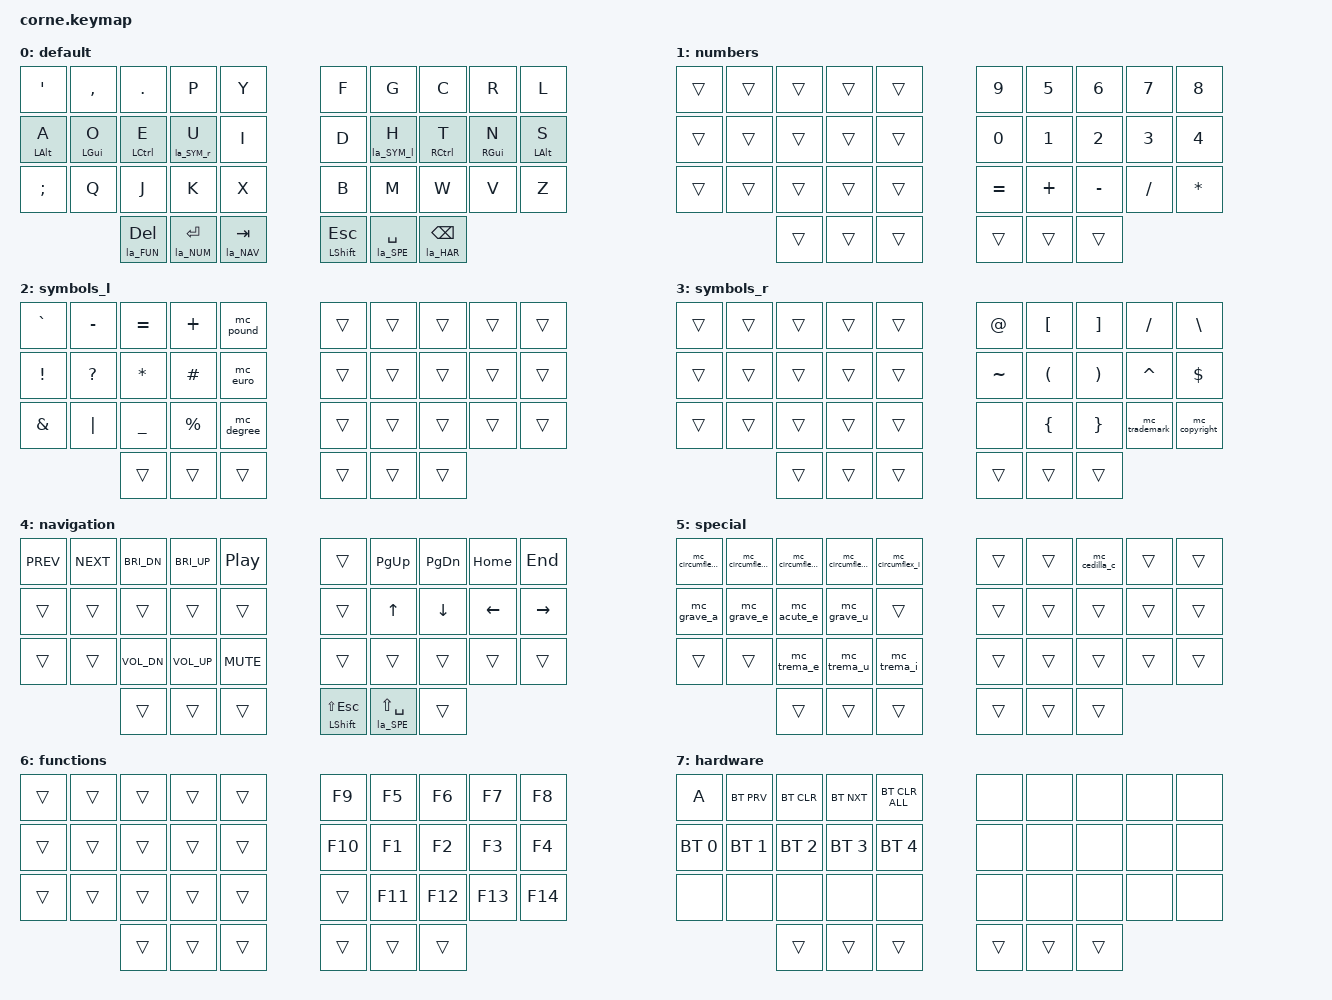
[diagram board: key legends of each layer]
#include <behaviors.dtsi>
#include <dt-bindings/zmk/keys.h>
#include <dt-bindings/zmk/bt.h>

/ {
  chosen {
    zmk,matrix_transform = &five_column_transform;
  };
};

#define la_DEF 0
#define la_NUM 1
#define la_SYM_l 2
#define la_SYM_r 3
#define la_NAV 4
#define la_SPE 5
#define la_FUN 6
#define la_HAR 7
// #define la_LMOD 4
// #define la_RMOD 5

#define po_T0 30
#define po_T1 31
#define po_T2 32
#define po_T3 33

#define po_LC 13
#define po_LS 12
#define po_LG 11
#define po_LA 10

#define po_RC 16
#define po_RS 17
#define po_RG 18
#define po_RA 19

#define po_RIGHT 5 6 7 8 9 15 16 17 18 19 25 26 27 28 29 30 31 32 33
#define po_LEFT 0 1 2 3 4 10 11 12 13 14 20 21 22 23 24 30 31 32 33

#define HM(NAME, HOLD, TAP, TRIGGER_POS) \
NAME: NAME { \
  label = #NAME; \
  compatible = "zmk,behavior-hold-tap"; \
  #binding-cells = <2>; \
  tapping-term-ms = <270>; \
  quick-tap-ms = <150>; \
  global-quick-tap; \
  flavor = "balanced"; \
  bindings = <HOLD>, <TAP>; \
  hold-trigger-key-positions = <TRIGGER_POS>; \
  hold-trigger-on-release; \
};

#define HMM(NAME, HOLD, TAP, TRIGGER_POS) \
NAME: NAME { \
  label = #NAME; \
  compatible = "zmk,behavior-hold-tap"; \
  #binding-cells = <2>; \
  tapping-term-ms = <270>; \
  quick-tap-ms = <200>; \
  global-quick-tap; \
  flavor = "balanced"; \
  bindings = <HOLD>, <TAP>; \
};

// hold-tap behavior that take two macros, one activated on hold, one activated on tap
#define HOLDTAP_MACRO(NAME, MACRO_HOLD, MACRO_TAP) \
NAME: NAME { \
  label = #NAME; \
  compatible = "zmk,behavior-hold-tap"; \
  #binding-cells = <2>; \
  flavor = "tap-preferred"; \
  tapping-term-ms = <200>; \
  bindings = <MACRO_HOLD>, <MACRO_TAP>; \
};

// macro behavior that take multiple keys which are activated when the macro is hold
#define MACRO_HOLD(NAME, BINDINGS) \
NAME: NAME { \
  label = #NAME; \
  compatible = "zmk,behavior-macro"; \
  #binding-cells = <0>; \
  wait-ms = <0>; \
  tap-ms = <0>; \
  bindings = <&macro_press BINDINGS>, <&macro_pause_for_release> , <&macro_release BINDINGS>; \
};

// macro behavior that take multiple keys which are activated when the macro is tap
#define MACRO_TAP(NAME, BINDINGS) \
NAME: NAME { \
  label = #NAME; \
  compatible = "zmk,behavior-macro"; \
  #binding-cells = <0>; \
  wait-ms = <0>; \
  tap-ms = <0>; \
  bindings = <BINDINGS>; \
};

// sticky key behavior that take a macro as bindings
#define SKQ_MACRO(NAME, MACRO) \
NAME: NAME { \
  compatible = "zmk,behavior-sticky-key"; \
  label = #NAME; \
  #binding-cells = <1>; \
  bindings = <MACRO>; \
  release-after-ms = <200>; \
  quick-release; \
  ignore-modifiers; \
};

// combo behavior that take a hold-tap as bindings
#define COMBO_HOLDTAP(NAME, TIMEOUT, POSITION, HOLDTAP) \
NAME { \
  layers = <la_DEF>; \
  timeout-ms = <TIMEOUT>; \
  slow-release; \
  key-positions = <POSITION>; \
  bindings = <&HOLDTAP 0 0>; \
};

#define COMBO(NAME, TIMEOUT, POSITION, BINDINGS) \
NAME { \
  layers = <la_DEF>; \
  timeout-ms = <TIMEOUT>; \
  slow-release; \
  key-positions = <POSITION>; \
  bindings = BINDINGS; \
};

#define TAPDANCE(NAME, TAP_1, TAP_2) \
NAME: NAME { \
  compatible = "zmk,behavior-tap-dance"; \
  label = #NAME; \
  #binding-cells = <0>; \
  tapping-term-ms = <200>; \
  bindings = <TAP_1>, <TAP_2>; \
};

#define TAPDANCE_3(NAME, TAP_1, TAP_2, TAP_3) \
NAME: NAME { \
  compatible = "zmk,behavior-tap-dance"; \
  label = #NAME; \
  #binding-cells = <0>; \
  tapping-term-ms = <200>; \
  bindings = <TAP_1>, <TAP_2>, <TAP_3>; \
};

/ {

  behaviors {
    HMM(hm_mod_l, &kp, &kp, po_RIGHT)
    HMM(hm_mod_r, &kp, &kp, po_LEFT)
    HM(hm_mo_r, &mo, &kp, po_LEFT)
    HM(hm_mo_l, &mo, &kp, po_RIGHT)

    ht_mo: hold_tap_momentary_layer {
      compatible = "zmk,behavior-hold-tap";
      label = "ht_mo";
      #binding-cells = <2>;
      flavor = "balanced";
      tapping-term-ms = <270>;
      quick-tap-ms = <200>;
      bindings = <&mo>, <&kp>;
    };

    ht_mod: hold_tap_modifier {
      compatible = "zmk,behavior-hold-tap";
      label = "ht_mod";
      #binding-cells = <2>;
      flavor = "hold-preferred";
      tapping-term-ms = <200>;
      bindings = <&kp>, <&kp>;
    };

    // &ht_mo_sk la_NAV RSFT
    ht_mo_sk: hold_tap_momentary_layer_sticky_modifier {
      compatible = "zmk,behavior-hold-tap";
      label = "ht_mo_sk";
      #binding-cells = <2>;
      flavor = "hold-preferred";
      tapping-term-ms = <200>;
      bindings = <&mo>, <&skq>;
    };

    // sticky key behavior with quick-release option that deactivate the sticky key on the next key being pressed
    skq: sk_quick_release {
      compatible = "zmk,behavior-sticky-key";
      label = "sk_quick_release";
      #binding-cells = <1>;
      bindings = <&kp>;
      release-after-ms = <200>;
      quick-release;
      /delete-property/ ignore-modifiers;
     };

    // sticky key behavior with ignore-modifiers option for use with multiple modifiers like LC(LSHFT)
    skqx: skq_multiple_modifiers {
      compatible = "zmk,behavior-sticky-key";
      label = "skq_multiple_modifiers";
      #binding-cells = <1>;
      bindings = <&kp>;
      release-after-ms = <200>;
      quick-release;
      ignore-modifiers;
     };
  };

  macros {
    MACRO_TAP(mc_grave_a,      &kp RA(GRAVE)    &kp A)
    MACRO_TAP(mc_grave_e,      &kp RA(GRAVE)    &kp E)
    MACRO_TAP(mc_grave_u,      &kp RA(GRAVE)    &kp U)
    MACRO_TAP(mc_circumflex_a, &kp RA(NUMBER_6) &kp A)
    MACRO_TAP(mc_circumflex_o, &kp RA(NUMBER_6) &kp O)
    MACRO_TAP(mc_circumflex_e, &kp RA(NUMBER_6) &kp E)
    MACRO_TAP(mc_circumflex_u, &kp RA(NUMBER_6) &kp U)
    MACRO_TAP(mc_circumflex_i, &kp RA(NUMBER_6) &kp I)
    MACRO_TAP(mc_trema_e,      &kp RA(RS(SQT))  &kp E)
    MACRO_TAP(mc_trema_u,      &kp RA(RS(SQT))  &kp U)
    MACRO_TAP(mc_trema_i,      &kp RA(RS(SQT))  &kp I)
    MACRO_TAP(mc_acute_e,      &kp RA(E))
    MACRO_TAP(mc_cedilla_c,    &kp RA(COMMA))
    MACRO_TAP(mc_euro,         &kp RA(NUMBER_5))
    MACRO_TAP(mc_pound,        &kp RA(RS(NUMBER_4)))
    MACRO_TAP(mc_degree,       &kp RA(RS(NUMBER_0)))
    MACRO_TAP(mc_trademark,    &kp RA(V))
    MACRO_TAP(mc_copyright,    &kp RA(C))
  };

  combos {
    compatible = "zmk,combos";

    cb_bspc { layers = <la_DEF la_NAV>; timeout-ms = <30>; key-positions = <11 12>; bindings = <&kp BSPC>; require-prior-idle-ms = <150>; };
    // cb_esc { layers = <la_DEF la_NAV>; timeout-ms = <30>; key-positions = <12 13>; bindings = <&kp ESC>; require-prior-idle-ms = <150>; };
    cb_rep_r { layers = <la_DEF la_NAV>; timeout-ms = <30>; key-positions = <16 17>; bindings = <&key_repeat>; require-prior-idle-ms = <150>; };
    cb_rep_l { layers = <la_DEF la_NAV>; timeout-ms = <30>; key-positions = <12 13>; bindings = <&key_repeat>; require-prior-idle-ms = <150>; };
    cb_del { layers = <la_DEF la_NAV>; timeout-ms = <30>; key-positions = <17 18>; bindings = <&kp DEL>; require-prior-idle-ms = <150>; };
    cb_caps { layers = <la_DEF>; timeout-ms = <40>; key-positions = <26 27>; bindings = <&caps_word>; };
  };

  // conditional_layers {
  //   compatible = "zmk,conditional-layers";
  //   tri_layer {
  //     if-layers = <la_SYM la_NAV>;
  //     then-layer = <6>;
  //   };
  // };

  keymap {
    compatible = "zmk,keymap";

    default {
      bindings = <
      &kp SQT &kp COMMA &kp DOT &kp P &kp Y                                           &kp F &kp G &kp C &kp R &kp L
      &hm_mod_l LALT A &hm_mod_l LGUI O &hm_mod_l LCTL E &hm_mo_l la_SYM_r U &kp I    &kp D &hm_mo_r la_SYM_l H &hm_mod_r RCTL T &hm_mod_r RGUI N &hm_mod_r LALT S
      &kp SEMI &kp Q &kp J &kp K &kp X                                                &kp B &kp M &kp W &kp V &kp Z
      &hm_mo_l la_FUN DEL &hm_mo_l la_NUM ENTER &ht_mo la_NAV TAB &ht_mod LSHFT ESC &hm_mo_r la_SPE SPACE &hm_mo_r la_HAR BSPC
      >;
    };

    numbers {
      bindings = <
        &trans &trans &trans &trans &trans                  &kp NUMBER_9 &kp NUMBER_5 &kp NUMBER_6 &kp NUMBER_7 &kp NUMBER_8
        &trans &trans &trans &trans &trans                  &kp NUMBER_0 &kp NUMBER_1 &kp NUMBER_2 &kp NUMBER_3 &kp NUMBER_4
        &trans &trans &trans &trans &trans                  &kp EQUAL &kp PLUS &kp MINUS &kp SLASH &kp STAR
        &trans &trans &trans &trans &trans &trans
        >;
    };

    symbols_l {
      bindings = <
        &kp GRAVE &kp MINUS &kp EQUAL &kp PLUS &mc_pound    &trans &trans &trans &trans &trans
        &kp EXCL &kp QUESTION &kp STAR &kp HASH &mc_euro    &trans &trans &trans &trans &trans
        &kp AMPS &kp PIPE &kp UNDER &kp PRCNT &mc_degree    &trans &trans &trans &trans &trans
        &trans &trans &trans &trans &trans &trans
        >;
    };

    symbols_r {
      bindings = <
        &trans &trans &trans &trans &trans                  &kp AT &kp LBKT &kp RBKT &kp SLASH &kp BSLH
        &trans &trans &trans &trans &trans                  &kp TILDE &kp LPAR &kp RPAR &kp CARET &kp DLLR
        &trans &trans &trans &trans &trans                  &none &kp LBRC &kp RBRC &mc_trademark &mc_copyright
        &trans &trans &trans &trans &trans &trans
        >;
    };

    navigation {
      bindings = <
        &kp C_PREV &kp C_NEXT &kp C_BRI_DN &kp C_BRI_UP &kp C_PLAY_PAUSE       &trans &kp PG_UP &kp PG_DN &kp HOME &kp END
        &trans &trans &trans &trans &trans                                     &trans &kp UP &kp DOWN &kp LEFT &kp RIGHT
        &trans &trans &kp C_VOL_DN &kp C_VOL_UP &kp C_MUTE                     &trans &trans &trans &trans &trans
        &trans &trans &trans &ht_mod LSHFT LS(ESC) &hm_mo_r la_SPE LS(SPACE) &trans
        >;
    };

    special {
      bindings = <
        &mc_circumflex_a &mc_circumflex_o &mc_circumflex_e &mc_circumflex_u &mc_circumflex_i   &trans &trans &mc_cedilla_c &trans &trans
        &mc_grave_a &mc_grave_e &mc_acute_e &mc_grave_u &trans                                 &trans &trans &trans &trans &trans
        &trans &trans &mc_trema_e &mc_trema_u &mc_trema_i                                      &trans &trans &trans &trans &trans
        &trans &trans &trans &trans &trans &trans
        >;
    };

    functions {
      bindings = <
        &trans &trans &trans &trans &trans     &kp F9 &kp F5 &kp F6 &kp F7 &kp F8
        &trans &trans &trans &trans &trans     &kp F10 &kp F1 &kp F2 &kp F3 &kp F4
        &trans &trans &trans &trans &trans     &trans &kp F11 &kp F12 &kp F13 &kp F14
        &trans &trans &trans &trans &trans &trans
        >;
    };

    hardware {
      bindings = <
        &kp A &bt BT_PRV &bt BT_CLR &bt BT_NXT &bt BT_CLR_ALL                &none &none &none &none &none
        &bt BT_SEL 0 &bt BT_SEL 1 &bt BT_SEL 2 &bt BT_SEL 3 &bt BT_SEL 4     &none &none &none &none &none
        &none &none &none &none &none                                        &none &none &none &none &none
        &trans &trans &trans &trans &trans &trans
        >;
    };

    // tri {
    //   bindings = <
    //     &bt BT_SEL 0 &bt BT_SEL 1 &bt BT_SEL 2 &bt BT_SEL 3 &bt BT_SEL 4     &none &kp F5 &kp F6 &kp F7 &kp F8
    //     &kp LALT &kp LGUI &kp LSHFT &kp LCTRL &bt BT_CLR                     &none &kp F1 &kp F2 &kp F3 &kp F4
    //     &none &none &none &none &none                                        &none &kp F9 &kp F10 &kp F11 &kp F12
    //     &trans &trans &trans &trans
    //     >;
    // };
  };
};
